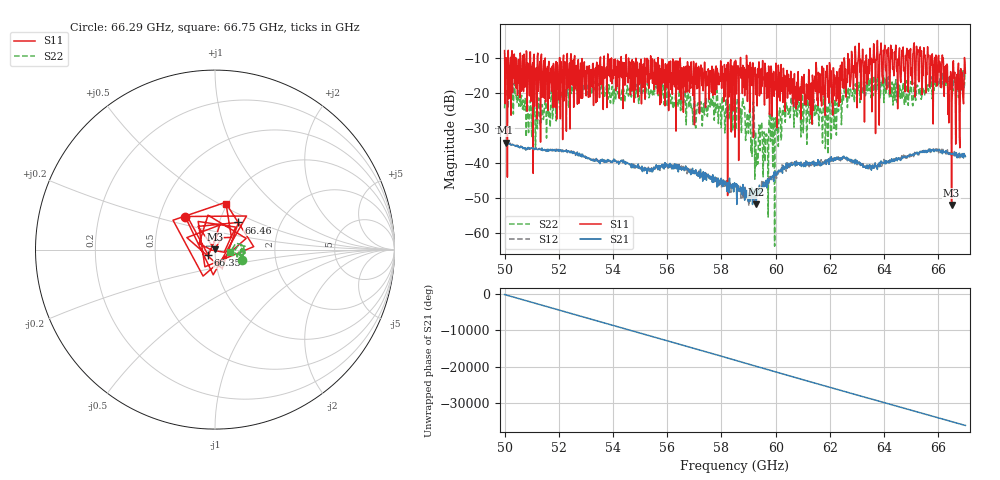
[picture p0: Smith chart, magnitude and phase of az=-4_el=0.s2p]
!Created with skrf (http://scikit-rf.org).
# GHz S RI R 50.0
!freq ReS11 ImS11 ReS21 ImS21 ReS12 ImS12 ReS22 ImS22
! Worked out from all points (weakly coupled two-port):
!   1001 points, 50 GHz to 67 GHz, reference 50 ohm
!   highest |S21| = -34.29 dB at 50.03 GHz (marker M1); lowest = -51.9 dB at 59.28 GHz (marker M2)
!   lowest |S11| = -52.1 dB at 66.49 GHz (marker M3), VSWR 1.00, Z = 49.9 + j0.226 ohm
!   |S11| at or under -10 dB: 52.59 GHz to 53.53 GHz (948.7 MHz wide, 1.79 % of centre); 55.66 GHz to 58.7 GHz (3.043 GHz wide, 5.32 % of centre); 58.93 GHz to 62.66 GHz (3.733 GHz wide, 6.14 % of centre) (the widest 3 of 63)
!   |S22| runs from -63.8 to -13.3 dB; largest |S21 - S12| = 0.0024
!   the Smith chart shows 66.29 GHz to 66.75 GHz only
!   S11 on the Smith chart (normalised r, x): 66.29 GHz: 0.67, +0.26; 66.35 GHz: 0.93, -0.06; 66.46 GHz: 1.23, +0.39; 66.75 GHz: 0.98, +0.54
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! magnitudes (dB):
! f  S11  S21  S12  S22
! 50 GHz  -8.0  -34.3  -34.2  -24.5
! 50.03 GHz  -11.1  -34.3  -34.3  -20.1
! 50.42 GHz  -18.7  -35.2  -35.2  -20.7
! 51.07 GHz  -9.6  -36.1  -36.2  -26.3
! 52.84 GHz  -11.7  -38.3  -38.3  -19.8
! 55.68 GHz  -13.3  -41.1  -41.2  -20.8
! 58.5 GHz  -32.7  -46.4  -46.8  -24.4
! 59.11 GHz  -12.9  -47.1  -48.9  -33.4
! 59.28 GHz  -14.8  -51.9  -48.7  -40.9
! 60.03 GHz  -14.3  -43.6  -44.5  -31.2
! 60.64 GHz  -16.0  -40.5  -40.2  -22.7
! 61.34 GHz  -29.0  -39.8  -40.0  -27.5
! 62 GHz  -12.2  -38.9  -39.1  -24.3
! 62.55 GHz  -11.3  -38.5  -38.6  -18.6
! 64.18 GHz  -11.6  -40.1  -39.6  -17.4
! 65.56 GHz  -11.5  -37.1  -36.8  -19.7
! 66.29 GHz  -12.2  -36.5  -37.5  -16.0
! 66.35 GHz  -26.2  -37.3  -37.4  -15.6
! 66.46 GHz  -14.0  -37.3  -38.1  -17.5
! 66.49 GHz  -52.1  -37.5  -38.0  -15.5
! 66.75 GHz  -11.6  -38.1  -37.6  -21.4
! 67 GHz  -14.4  -38.2  -38.2  -14.5
